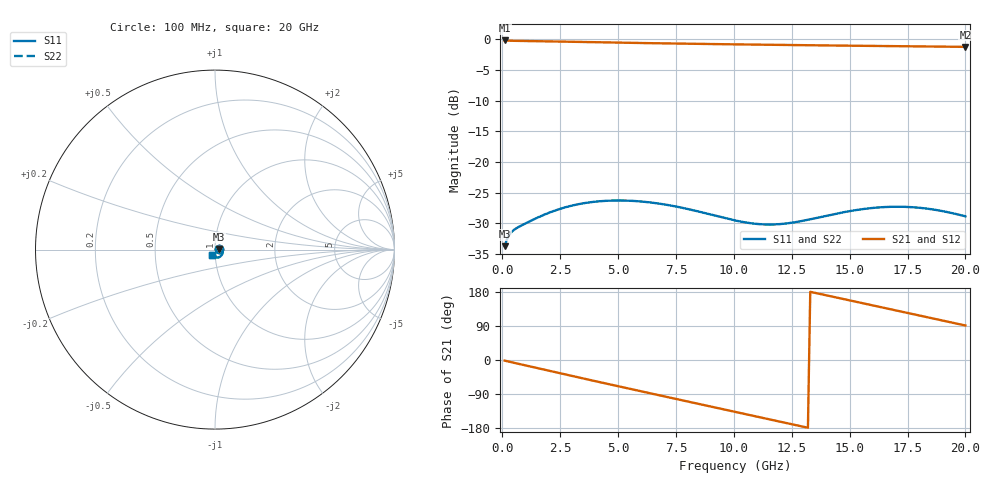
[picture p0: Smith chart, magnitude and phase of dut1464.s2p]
! Touchstone file exported from HFSS 2026.1.0
!  File:  C:/ffzhzh/LocalFiles/Ansys_Project_Files/temp_train_TSV_RDL_1464_1783360523_50076.aedt
!  Generated:  02:04:12 AM Jul  7, 2026
!  Design:  TSV_RDL
!  Project:  temp_train_TSV_RDL_1464_1783360523_50076
! Variables:
!  h_bsmrdl = 2.33um
!  h_ox = 20um
!  h_rdl = 5um
!  h_sub = 51.53um
!  h_tmrdl = 5.65um
!  h_tsv = 51.53um
!  h_via = 3um
!  l_bsmrdl = 104.36um
!  l_sub = 4828.97um
!  l_tmrdl = 996.19um
!  m_sub = 200um
!  pitch = 26.05um
!  r_tsv = 2.97um
!  s_tmrdl = 10um
!  w_bsmrdl = 22.18um
!  w_sub = 500um
!  w_tmrdl = 21.53um
!  x_tsv_center1 = 1006.955um
!  x_tsv_center2 = 1133.495um
!  x_tsv_center3 = 2151.215um
!  x_tsv_center4 = 2277.755um
!  x_tsv_center5 = 3295.475um
!  x_tsv_center6 = 3422.015um
# GHz S MA R 50.000000
! Terminal data exported
! Port[1] = TM_RDL1_1_T1
! Port[2] = TM_RDL5_1_T1
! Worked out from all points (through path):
!   200 points, 100 MHz to 20 GHz, reference 50 ohm
!   highest |S21| = -0.18 dB at 100 MHz (marker M1); lowest = -1.2 dB at 20 GHz (marker M2)
!   group delay of S21, straight-line fit = 37.2 ps
!   lowest |S11| = -33.8 dB at 100 MHz (marker M3), VSWR 1.04, Z = 52.1 + j0.368 ohm
!   |S11| at or under -10 dB: start of sweep to end of sweep
!   |S22| runs from -33.8 to -26.2 dB; largest |S21 - S12| = 2.9e-13
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0.1  0.02052 9.9  0.9799 -1.6  0.9799 -1.6  0.02052 9.9
! Gamma 0 0 0 0
! Port Impedance 50 0 50 0
0.3  0.02541 12.2  0.9756 -4.5  0.9756 -4.5  0.02541 12.1
0.7  0.02941 8.2  0.9716 -10.1  0.9716 -10.1  0.02941 8.1
2  0.03834 -4.5  0.9633 -28.2  0.9633 -28.2  0.0384 -4.6
3.5  0.04594 -26.6  0.9517 -48.8  0.9517 -48.8  0.0461 -26.7
4.4  0.04803 -40.4  0.9449 -61.1  0.9449 -61.1  0.04828 -40.6
5.2  0.04838 -52.3  0.9392 -71.9  0.9392 -71.9  0.04873 -52.4
6  0.0475 -63.2  0.9338 -82.6  0.9338 -82.6  0.04794 -63.4
6.8  0.04558 -73.1  0.9287 -93.4  0.9287 -93.4  0.0461 -73.3
7.6  0.04287 -81.5  0.9239 -104.1  0.9239 -104.1  0.04347 -81.8
8.4  0.03966 -88.1  0.9193 -114.8  0.9193 -114.8  0.04032 -88.6
10.1  0.03313 -94.6  0.9103 -137.5  0.9103 -137.5  0.0338 -95.5
11  0.03116 -93.6  0.9059 -149.5  0.9059 -149.5  0.03172 -94.9
11.8  0.0309 -91.3  0.9021 -160.1  0.9021 -160.1  0.03131 -92.9
12.6  0.03209 -89.3  0.8984 -170.8  0.8984 -170.8  0.0323 -91.0
13.4  0.03432 -88.9  0.8948 178.6  0.8948 178.6  0.03436 -90.5
14.2  0.03703 -90.3  0.8914 168.0  0.8914 168.0  0.03693 -91.7
15  0.03964 -93.3  0.888 157.3  0.888 157.3  0.03945 -94.5
16.7  0.04295 -102.5  0.8811 134.8  0.8811 134.8  0.04268 -103.3
18.4  0.04142 -111.7  0.8746 112.2  0.8746 112.2  0.04117 -112.2
19.2  0.03901 -114.3  0.8716 101.6  0.8716 101.6  0.03881 -114.7
20  0.03597 -114.8  0.8688 91.0  0.8688 91.0  0.03582 -115.1
